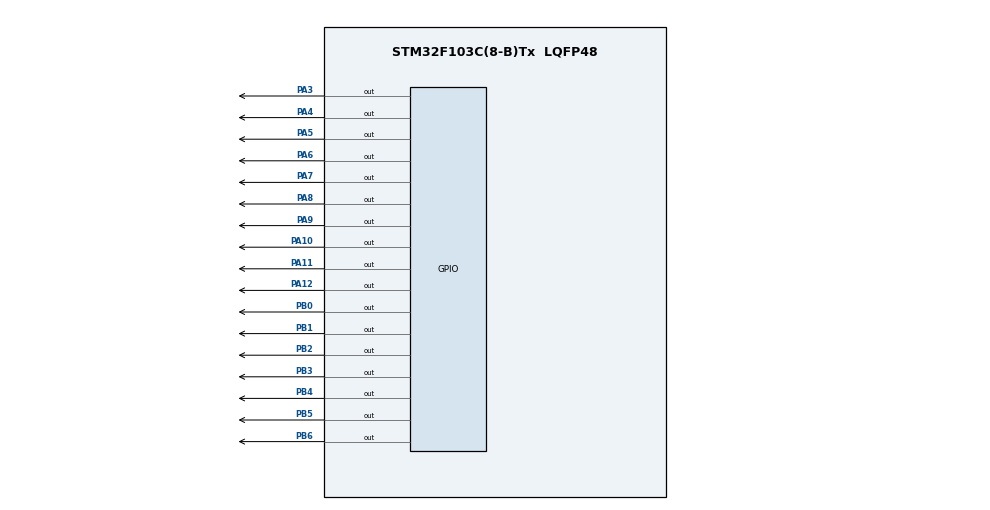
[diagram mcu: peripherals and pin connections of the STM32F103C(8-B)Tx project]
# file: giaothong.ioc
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Mcu.Family=STM32F1
Mcu.Name=STM32F103C(8-B)Tx
Mcu.Package=LQFP48
NVIC.PriorityGroup=NVIC_PRIORITYGROUP_4
PA10.Signal=GPIO_Output
PA11.Signal=GPIO_Output
PA12.Signal=GPIO_Output
PA13.Mode=Serial_Wire
PA13.Signal=SYS_JTMS-SWDIO
PA14.Mode=Serial_Wire
PA14.Signal=SYS_JTCK-SWCLK
PA3.Signal=GPIO_Output
PA4.Signal=GPIO_Output
PA5.Signal=GPIO_Output
PA6.Signal=GPIO_Output
PA7.Signal=GPIO_Output
PA8.GPIO_Speed=GPIO_SPEED_FREQ_LOW
PA8.PinState=GPIO_PIN_SET
PA8.Signal=GPIO_Output
PA9.GPIO_Speed=GPIO_SPEED_FREQ_LOW
PA9.PinState=GPIO_PIN_SET
PA9.Signal=GPIO_Output
PB0.Signal=GPIO_Output
PB1.Signal=GPIO_Output
PB2.Signal=GPIO_Output
PB3.Signal=GPIO_Output
PB4.Signal=GPIO_Output
PB5.Signal=GPIO_Output
PB6.Signal=GPIO_Output
ProjectManager.HeapSize=0x200
ProjectManager.StackSize=0x400
ProjectManager.TargetToolchain=MDK-ARM V5
RCC.APB1Freq_Value=8000000
RCC.APB2Freq_Value=8000000
board=custom

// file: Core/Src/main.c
/* USER CODE BEGIN Header */
/**
  ******************************************************************************
  * @file           : main.c
  * @brief          : Main program body
  ******************************************************************************
  * @attention
  *
  * Copyright (c) 2024 STMicroelectronics.
  * All rights reserved.
  *
  * This software is licensed under terms that can be found in the LICENSE file
  * in the root directory of this software component.
  * If no LICENSE file comes with this software, it is provided AS-IS.
  *
  ******************************************************************************
  */
/* USER CODE END Header */
#include "main.h"

/* USER CODE BEGIN PV */
uint16_t so[]={0x40,0x79,0x24,0x30,0x19,0x12,0x02,0x78,0x00,0x10};

/* USER CODE END PV */

void SystemClock_Config(void);
static void MX_GPIO_Init(void);
/* USER CODE BEGIN PFP */
void demso(uint16_t so){
	switch(so){
		case 0:
			HAL_GPIO_WritePin(GPIOB,GPIO_PIN_6,1);
			HAL_GPIO_WritePin(GPIOB,GPIO_PIN_5,0);
			HAL_GPIO_WritePin(GPIOB,GPIO_PIN_4,0);
			HAL_GPIO_WritePin(GPIOB,GPIO_PIN_3,0);
			HAL_GPIO_WritePin(GPIOB,GPIO_PIN_2,0);
			HAL_GPIO_WritePin(GPIOB,GPIO_PIN_1,0);
			HAL_GPIO_WritePin(GPIOB,GPIO_PIN_0,0);
			break;
		case 1:
			HAL_GPIO_WritePin(GPIOB,GPIO_PIN_6,1);
			HAL_GPIO_WritePin(GPIOB,GPIO_PIN_5,1);
			HAL_GPIO_WritePin(GPIOB,GPIO_PIN_4,1);
			HAL_GPIO_WritePin(GPIOB,GPIO_PIN_3,1);
			HAL_GPIO_WritePin(GPIOB,GPIO_PIN_2,0);
			HAL_GPIO_WritePin(GPIOB,GPIO_PIN_1,0);
			HAL_GPIO_WritePin(GPIOB,GPIO_PIN_0,1);
			break;
		case 2:
			HAL_GPIO_WritePin(GPIOB,GPIO_PIN_6,0);
			HAL_GPIO_WritePin(GPIOB,GPIO_PIN_5,1);
			HAL_GPIO_WritePin(GPIOB,GPIO_PIN_4,0);
			HAL_GPIO_WritePin(GPIOB,GPIO_PIN_3,0);
			HAL_GPIO_WritePin(GPIOB,GPIO_PIN_2,1);
			HAL_GPIO_WritePin(GPIOB,GPIO_PIN_1,0);
			HAL_GPIO_WritePin(GPIOB,GPIO_PIN_0,0);
			break;
		case 3:
			HAL_GPIO_WritePin(GPIOB,GPIO_PIN_6,0);
			HAL_GPIO_WritePin(GPIOB,GPIO_PIN_5,1);
			HAL_GPIO_WritePin(GPIOB,GPIO_PIN_4,1);
			HAL_GPIO_WritePin(GPIOB,GPIO_PIN_3,0);
			HAL_GPIO_WritePin(GPIOB,GPIO_PIN_2,0);
			HAL_GPIO_WritePin(GPIOB,GPIO_PIN_1,0);
			HAL_GPIO_WritePin(GPIOB,GPIO_PIN_0,0);
			break;
		case 4:
			HAL_GPIO_WritePin(GPIOB,GPIO_PIN_6,0);
			HAL_GPIO_WritePin(GPIOB,GPIO_PIN_5,0);
			HAL_GPIO_WritePin(GPIOB,GPIO_PIN_4,1);
			HAL_GPIO_WritePin(GPIOB,GPIO_PIN_3,1);
			HAL_GPIO_WritePin(GPIOB,GPIO_PIN_2,0);
			HAL_GPIO_WritePin(GPIOB,GPIO_PIN_1,0);
			HAL_GPIO_WritePin(GPIOB,GPIO_PIN_0,1);
			break;
		case 5:
			HAL_GPIO_WritePin(GPIOB,GPIO_PIN_6,0);
			HAL_GPIO_WritePin(GPIOB,GPIO_PIN_5,0);
			HAL_GPIO_WritePin(GPIOB,GPIO_PIN_4,1);
			HAL_GPIO_WritePin(GPIOB,GPIO_PIN_3,0);
			HAL_GPIO_WritePin(GPIOB,GPIO_PIN_2,0);
			HAL_GPIO_WritePin(GPIOB,GPIO_PIN_1,1);
			HAL_GPIO_WritePin(GPIOB,GPIO_PIN_0,0);
			break;
		case 6:
			HAL_GPIO_WritePin(GPIOB,GPIO_PIN_6,0);
			HAL_GPIO_WritePin(GPIOB,GPIO_PIN_5,0);
			HAL_GPIO_WritePin(GPIOB,GPIO_PIN_4,0);
			HAL_GPIO_WritePin(GPIOB,GPIO_PIN_3,0);
			HAL_GPIO_WritePin(GPIOB,GPIO_PIN_2,0);
			HAL_GPIO_WritePin(GPIOB,GPIO_PIN_1,1);
			HAL_GPIO_WritePin(GPIOB,GPIO_PIN_0,0);
			break;
		case 7:
			HAL_GPIO_WritePin(GPIOB,GPIO_PIN_6,1);
			HAL_GPIO_WritePin(GPIOB,GPIO_PIN_5,1);
			HAL_GPIO_WritePin(GPIOB,GPIO_PIN_4,1);
			HAL_GPIO_WritePin(GPIOB,GPIO_PIN_3,1);
			HAL_GPIO_WritePin(GPIOB,GPIO_PIN_2,0);
			HAL_GPIO_WritePin(GPIOB,GPIO_PIN_1,0);
			HAL_GPIO_WritePin(GPIOB,GPIO_PIN_0,0);
			break;
		case 8:
			HAL_GPIO_WritePin(GPIOB,GPIO_PIN_6,0);
			HAL_GPIO_WritePin(GPIOB,GPIO_PIN_5,0);
			HAL_GPIO_WritePin(GPIOB,GPIO_PIN_4,0);
			HAL_GPIO_WritePin(GPIOB,GPIO_PIN_3,0);
			HAL_GPIO_WritePin(GPIOB,GPIO_PIN_2,0);
			HAL_GPIO_WritePin(GPIOB,GPIO_PIN_1,0);
			HAL_GPIO_WritePin(GPIOB,GPIO_PIN_0,0);
			break;
		case 9:
			HAL_GPIO_WritePin(GPIOB,GPIO_PIN_6,0);
			HAL_GPIO_WritePin(GPIOB,GPIO_PIN_5,0);
			HAL_GPIO_WritePin(GPIOB,GPIO_PIN_4,1);
			HAL_GPIO_WritePin(GPIOB,GPIO_PIN_3,0);
			HAL_GPIO_WritePin(GPIOB,GPIO_PIN_2,0);
			HAL_GPIO_WritePin(GPIOB,GPIO_PIN_1,0);
			HAL_GPIO_WritePin(GPIOB,GPIO_PIN_0,0);
			break;

		default:
			break;
	}
}

void display(uint16_t dem){
		uint16_t chuc,donvi;
		chuc = dem/10;
		donvi=dem%10;
		for(uint8_t i=0; i<25;i++){
			HAL_GPIO_WritePin(GPIOA,GPIO_PIN_8,1);
			demso(chuc);
			HAL_Delay(10);
			HAL_GPIO_WritePin(GPIOA,GPIO_PIN_8,0);

			HAL_GPIO_WritePin(GPIOA,GPIO_PIN_9,1);
			demso(donvi);
			HAL_Delay(10);
			HAL_GPIO_WritePin(GPIOA,GPIO_PIN_9,0);
		}
}
void display2(uint16_t dem,uint16_t dem2){
		uint16_t chuc,donvi;
		uint16_t chuc2,donvi2;
		chuc = dem/10;
		donvi=dem%10;
		chuc2 = dem2/10;
		donvi2=dem2%10;
		for(uint8_t i=0; i<15;i++){
			HAL_GPIO_WritePin(GPIOA,GPIO_PIN_6,1);
			demso(chuc2);
			HAL_Delay(10);
			HAL_GPIO_WritePin(GPIOA,GPIO_PIN_6,0);

			HAL_GPIO_WritePin(GPIOA,GPIO_PIN_7,1);
			demso(donvi2);
			HAL_Delay(10);
			HAL_GPIO_WritePin(GPIOA,GPIO_PIN_7,0);

			HAL_GPIO_WritePin(GPIOA,GPIO_PIN_8,1);
			demso(chuc);
			HAL_Delay(10);
			HAL_GPIO_WritePin(GPIOA,GPIO_PIN_8,0);

			HAL_GPIO_WritePin(GPIOA,GPIO_PIN_9,1);
			demso(donvi);
			HAL_Delay(10);
			HAL_GPIO_WritePin(GPIOA,GPIO_PIN_9,0);
		}
}
/* USER CODE END PFP */

int main(void)
{

  /* MCU Configuration--------------------------------------------------------*/

  /* Reset of all peripherals, Initializes the Flash interface and the Systick. */
  HAL_Init();

  /* Configure the system clock */
  SystemClock_Config();

  /* Initialize all configured peripherals */
  MX_GPIO_Init();

  /* Infinite loop */
  /* USER CODE BEGIN WHILE */
	HAL_GPIO_WritePin(GPIOA,GPIO_PIN_6,0);
	HAL_GPIO_WritePin(GPIOA,GPIO_PIN_7,0);
	HAL_GPIO_WritePin(GPIOA,GPIO_PIN_8,0);
	HAL_GPIO_WritePin(GPIOA,GPIO_PIN_9,0);
	uint16_t dem,dem2 ;
  while (1)
  {
    /* USER CODE END WHILE */

    /* USER CODE BEGIN 3 */
		dem=25;dem2=30;
		while(dem){
			dem--;dem2--;
			HAL_GPIO_WritePin(GPIOA,GPIO_PIN_10,1);
			HAL_GPIO_WritePin(GPIOA,GPIO_PIN_11,0);
			HAL_GPIO_WritePin(GPIOA,GPIO_PIN_12,0);

			HAL_GPIO_WritePin(GPIOA,GPIO_PIN_3,0);
			HAL_GPIO_WritePin(GPIOA,GPIO_PIN_4,1);
			HAL_GPIO_WritePin(GPIOA,GPIO_PIN_5,0);

			display2(dem,dem2);

		}
		dem=5;dem2=5;
		while(dem){
			dem--;dem2--;
			HAL_GPIO_WritePin(GPIOA,GPIO_PIN_10,0);
			HAL_GPIO_WritePin(GPIOA,GPIO_PIN_11,0);
			HAL_GPIO_WritePin(GPIOA,GPIO_PIN_12,1);

			HAL_GPIO_WritePin(GPIOA,GPIO_PIN_3,0);
			HAL_GPIO_WritePin(GPIOA,GPIO_PIN_4,1);
			HAL_GPIO_WritePin(GPIOA,GPIO_PIN_5,0);

			display2(dem,dem2);
		}

		dem=30;dem2=25;
		while(dem2){
			dem--;dem2--;
			HAL_GPIO_WritePin(GPIOA,GPIO_PIN_10,0);
			HAL_GPIO_WritePin(GPIOA,GPIO_PIN_11,1);
			HAL_GPIO_WritePin(GPIOA,GPIO_PIN_12,0);

			HAL_GPIO_WritePin(GPIOA,GPIO_PIN_3,1);
			HAL_GPIO_WritePin(GPIOA,GPIO_PIN_4,0);
			HAL_GPIO_WritePin(GPIOA,GPIO_PIN_5,0);

			display2(dem,dem2);
		}
		dem=5;dem2=5;
		while(dem2){
			dem--;dem2--;
			HAL_GPIO_WritePin(GPIOA,GPIO_PIN_10,0);
			HAL_GPIO_WritePin(GPIOA,GPIO_PIN_11,1);
			HAL_GPIO_WritePin(GPIOA,GPIO_PIN_12,0);

			HAL_GPIO_WritePin(GPIOA,GPIO_PIN_3,0);
			HAL_GPIO_WritePin(GPIOA,GPIO_PIN_4,0);
			HAL_GPIO_WritePin(GPIOA,GPIO_PIN_5,1);

			display2(dem,dem2);
		}

  }
  /* USER CODE END 3 */
}

void SystemClock_Config(void)
{
  RCC_OscInitTypeDef RCC_OscInitStruct = {0};
  RCC_ClkInitTypeDef RCC_ClkInitStruct = {0};

  /** Initializes the RCC Oscillators according to the specified parameters
  * in the RCC_OscInitTypeDef structure.
  */
  RCC_OscInitStruct.OscillatorType = RCC_OSCILLATORTYPE_HSI;
  RCC_OscInitStruct.HSIState = RCC_HSI_ON;
  RCC_OscInitStruct.HSICalibrationValue = RCC_HSICALIBRATION_DEFAULT;
  RCC_OscInitStruct.PLL.PLLState = RCC_PLL_NONE;
  if (HAL_RCC_OscConfig(&RCC_OscInitStruct) != HAL_OK)
  {
    Error_Handler();
  }

  /** Initializes the CPU, AHB and APB buses clocks
  */
  RCC_ClkInitStruct.ClockType = RCC_CLOCKTYPE_HCLK|RCC_CLOCKTYPE_SYSCLK
                              |RCC_CLOCKTYPE_PCLK1|RCC_CLOCKTYPE_PCLK2;
  RCC_ClkInitStruct.SYSCLKSource = RCC_SYSCLKSOURCE_HSI;
  RCC_ClkInitStruct.AHBCLKDivider = RCC_SYSCLK_DIV1;
  RCC_ClkInitStruct.APB1CLKDivider = RCC_HCLK_DIV1;
  RCC_ClkInitStruct.APB2CLKDivider = RCC_HCLK_DIV1;

  if (HAL_RCC_ClockConfig(&RCC_ClkInitStruct, FLASH_LATENCY_0) != HAL_OK)
  {
    Error_Handler();
  }
}

static void MX_GPIO_Init(void)
{
  GPIO_InitTypeDef GPIO_InitStruct = {0};

  /* GPIO Ports Clock Enable */
  __HAL_RCC_GPIOA_CLK_ENABLE();
  __HAL_RCC_GPIOB_CLK_ENABLE();

  /*Configure GPIO pin Output Level */
  HAL_GPIO_WritePin(GPIOA, GPIO_PIN_3|GPIO_PIN_4|GPIO_PIN_5|GPIO_PIN_6
                          |GPIO_PIN_7|GPIO_PIN_10|GPIO_PIN_11|GPIO_PIN_12, GPIO_PIN_RESET);

  /*Configure GPIO pin Output Level */
  HAL_GPIO_WritePin(GPIOB, GPIO_PIN_0|GPIO_PIN_1|GPIO_PIN_2|GPIO_PIN_3
                          |GPIO_PIN_4|GPIO_PIN_5|GPIO_PIN_6, GPIO_PIN_RESET);

  /*Configure GPIO pin Output Level */
  HAL_GPIO_WritePin(GPIOA, GPIO_PIN_8|GPIO_PIN_9, GPIO_PIN_SET);

  /*Configure GPIO pins : PA3 PA4 PA5 PA6
                           PA7 PA8 PA9 PA10
                           PA11 PA12 */
  GPIO_InitStruct.Pin = GPIO_PIN_3|GPIO_PIN_4|GPIO_PIN_5|GPIO_PIN_6
                          |GPIO_PIN_7|GPIO_PIN_8|GPIO_PIN_9|GPIO_PIN_10
                          |GPIO_PIN_11|GPIO_PIN_12;
  GPIO_InitStruct.Mode = GPIO_MODE_OUTPUT_PP;
  GPIO_InitStruct.Pull = GPIO_NOPULL;
  GPIO_InitStruct.Speed = GPIO_SPEED_FREQ_LOW;
  HAL_GPIO_Init(GPIOA, &GPIO_InitStruct);

  /*Configure GPIO pins : PB0 PB1 PB2 PB3
                           PB4 PB5 PB6 */
  GPIO_InitStruct.Pin = GPIO_PIN_0|GPIO_PIN_1|GPIO_PIN_2|GPIO_PIN_3
                          |GPIO_PIN_4|GPIO_PIN_5|GPIO_PIN_6;
  GPIO_InitStruct.Mode = GPIO_MODE_OUTPUT_PP;
  GPIO_InitStruct.Pull = GPIO_NOPULL;
  GPIO_InitStruct.Speed = GPIO_SPEED_FREQ_LOW;
  HAL_GPIO_Init(GPIOB, &GPIO_InitStruct);

}

void Error_Handler(void)
{
  __disable_irq();
  while (1)
  {
  }
}
